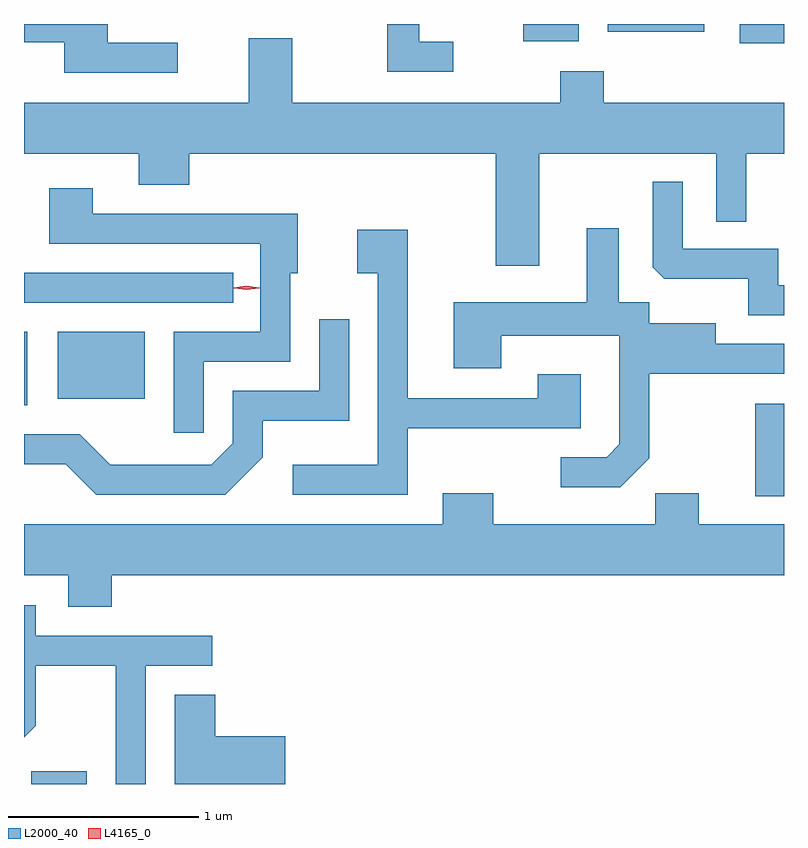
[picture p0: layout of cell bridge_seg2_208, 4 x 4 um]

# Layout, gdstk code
import gdstk
lib = gdstk.Library(unit=1e-6, precision=1e-09)
def R(c, l, rs):  # rectangles x0, y0, x1, y1
    for r in rs: c.add(gdstk.rectangle(r[:2], r[2:], *l))
def P(c, l, *ps):  # polygons
    for p in ps: c.add(gdstk.Polygon(p, *l))
L2000_40 = (2000, 40)
L4165_0 = (4165, 0)

bridge_seg2_208 = lib.new_cell('bridge_seg2_208')
R(bridge_seg2_208, L2000_40, [(1066.636,1033.898,1066.929,1033.964), (1070.446,1035.412,1070.598,1035.899), (1066.598,1035.891,1066.614,1036.279), (1066.776,1035.926,1067.234,1036.279), (1066.598,1036.431,1067.698,1036.589), (1070.366,1037.796,1070.598,1037.898), (1069.226,1037.806,1069.519,1037.898), (1069.671,1037.856,1070.178,1037.898)])
P(bridge_seg2_208, L2000_40, [(1068.858,1037.804),(1068.679,1037.804),(1068.679,1037.898),(1068.511,1037.898),(1068.511,1037.646),(1068.858,1037.646)],
  [(1067.408,1037.799),(1067.039,1037.799),(1067.039,1037.898),(1066.598,1037.898),(1066.598,1037.801),(1066.811,1037.801),(1066.811,1037.641),(1067.408,1037.641)],
  [(1069.309,1037.216),(1070.241,1037.216),(1070.241,1036.858),(1070.399,1036.858),(1070.399,1037.216),(1070.598,1037.216),(1070.598,1037.484),(1069.649,1037.484),(1069.649,1037.649),(1069.421,1037.649),(1069.421,1037.484),(1068.009,1037.484),(1068.009,1037.824),(1067.781,1037.824),(1067.781,1037.484),(1066.598,1037.484),(1066.598,1037.216),(1067.201,1037.216),(1067.201,1037.051),(1067.469,1037.051),(1067.469,1037.216),(1069.081,1037.216),(1069.081,1036.626),(1069.309,1036.626)],
  [(1070.598,1036.524),(1070.569,1036.524),(1070.569,1036.714),(1070.064,1036.714),(1070.064,1037.068),(1069.906,1037.068),(1069.906,1036.617),(1069.967,1036.556),(1070.411,1036.556),(1070.411,1036.366),(1070.598,1036.366)],
  [(1067.544,1036.121),(1067.999,1036.121),(1067.999,1036.586),(1068.039,1036.586),(1068.039,1036.899),(1066.959,1036.899),(1066.959,1037.034),(1066.731,1037.034),(1066.731,1036.741),(1067.841,1036.741),(1067.841,1036.279),(1067.386,1036.279),(1067.386,1035.748),(1067.544,1035.748)],
  [(1069.889,1035.613),(1069.889,1036.056),(1070.598,1036.056),(1070.598,1036.214),(1070.239,1036.214),(1070.239,1036.324),(1069.889,1036.324),(1069.889,1036.434),(1069.729,1036.434),(1069.729,1036.823),(1069.561,1036.823),(1069.561,1036.434),(1068.861,1036.434),(1068.861,1036.086),(1069.109,1036.086),(1069.109,1036.256),(1069.731,1036.256),(1069.731,1035.687),(1069.664,1035.619),(1069.423,1035.619),(1069.423,1035.461),(1069.737,1035.461)],
  [(1068.619,1035.771),(1069.529,1035.771),(1069.529,1036.054),(1069.301,1036.054),(1069.301,1035.929),(1068.619,1035.929),(1068.619,1036.814),(1068.351,1036.814),(1068.351,1036.586),(1068.461,1036.586),(1068.461,1035.579),(1068.013,1035.579),(1068.013,1035.421),(1068.619,1035.421)],
  [(1067.854,1035.619),(1067.854,1035.811),(1068.309,1035.811),(1068.309,1036.343),(1068.151,1036.343),(1068.151,1035.969),(1067.696,1035.969),(1067.696,1035.692),(1067.584,1035.579),(1067.052,1035.579),(1066.892,1035.739),(1066.598,1035.739),(1066.598,1035.581),(1066.819,1035.581),(1066.979,1035.421),(1067.657,1035.421)],
  [(1067.059,1034.996),(1070.598,1034.996),(1070.598,1035.264),(1070.149,1035.264),(1070.149,1035.429),(1069.921,1035.429),(1069.921,1035.264),(1069.069,1035.264),(1069.069,1035.429),(1068.801,1035.429),(1068.801,1035.264),(1066.598,1035.264),(1066.598,1034.996),(1066.831,1034.996),(1066.831,1034.831),(1067.059,1034.831)],
  [(1067.239,1034.521),(1067.588,1034.521),(1067.588,1034.679),(1066.659,1034.679),(1066.659,1034.839),(1066.598,1034.839),(1066.598,1034.143),(1066.659,1034.204),(1066.659,1034.521),(1067.081,1034.521),(1067.081,1033.898),(1067.239,1033.898)],
  [(1067.974,1034.149),(1067.604,1034.149),(1067.604,1034.369),(1067.391,1034.369),(1067.391,1033.898),(1067.974,1033.898)])
P(bridge_seg2_208, L4165_0, [(1067.769,1036.5),(1067.7,1036.51),(1067.699,1036.51),(1067.7,1036.51),(1067.769,1036.52),(1067.838,1036.51),(1067.838,1036.51),(1067.838,1036.51)],
  [(1067.77,1036.499),(1067.703,1036.508),(1067.703,1036.509),(1067.703,1036.509),(1067.77,1036.519),(1067.836,1036.509),(1067.836,1036.509),(1067.836,1036.508)])

lib.write_gds('bridge_seg2_208.gds')
